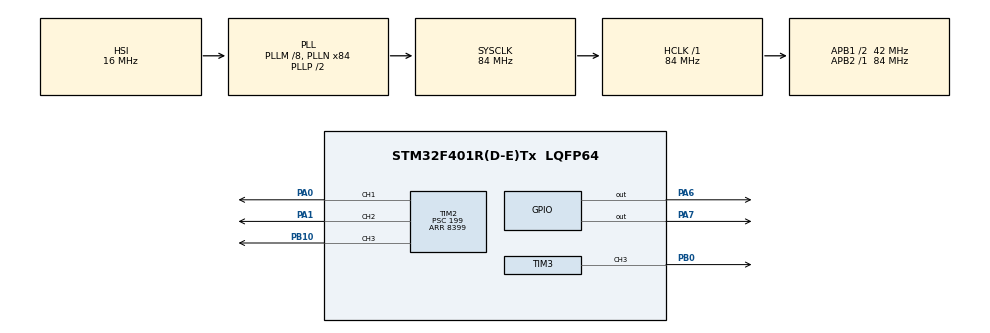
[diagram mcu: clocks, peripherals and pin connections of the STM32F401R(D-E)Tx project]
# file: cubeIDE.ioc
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FREERTOS.BinarySemaphores01=actuatorSem,Dynamic,NULL,Depleted;gantrySem,Dynamic,NULL,Depleted;uartSem,Dynamic,NULL,Available
FREERTOS.Tasks01=resetTask,48,256,StartResetTask,Default,NULL,Dynamic,NULL,NULL;uartTask,40,512,StartUARTTask,Default,NULL,Dynamic,NULL,NULL;actuatorTask,32,1024,StartActuatorTask,Default,NULL,Dynamic,NULL,NULL;gantryTask,24,512,StartGantryTask,Default,NULL,Dynamic,NULL,NULL
FREERTOS.configUSE_NEWLIB_REENTRANT=1
Mcu.Family=STM32F4
Mcu.Name=STM32F401R(D-E)Tx
Mcu.Package=LQFP64
<<<<<<< HEAD
=======
>>>>>>> c70491c610a38a6120c3b223b91105c19f0dbbfe
NVIC.PriorityGroup=NVIC_PRIORITYGROUP_4
NVIC.TIM5_IRQn=true\:15\:0\:false\:false\:true\:false\:false\:true\:true
NVIC.TimeBase=TIM5_IRQn
NVIC.TimeBaseIP=TIM5
PA0-WKUP.Signal=S_TIM2_CH1_ETR
PA1.Signal=S_TIM2_CH2
PA13.Mode=Serial_Wire
PA13.Signal=SYS_JTMS-SWDIO
PA14.Mode=Serial_Wire
PA14.Signal=SYS_JTCK-SWCLK
PA6.Signal=GPIO_Output
PA7.Signal=GPIO_Output
PB0.Signal=S_TIM3_CH3
PB10.Signal=S_TIM2_CH3
PH0\ -\ OSC_IN.Mode=HSE-External-Oscillator
PH0\ -\ OSC_IN.Signal=RCC_OSC_IN
PH1\ -\ OSC_OUT.Mode=HSE-External-Oscillator
PH1\ -\ OSC_OUT.Signal=RCC_OSC_OUT
ProjectManager.HeapSize=0x200
ProjectManager.StackSize=0x400
ProjectManager.TargetToolchain=STM32CubeIDE
RCC.48MHZClocksFreq_Value=42000000
RCC.AHBFreq_Value=84000000
RCC.APB1CLKDivider=RCC_HCLK_DIV2
RCC.APB1Freq_Value=42000000
RCC.APB1TimFreq_Value=84000000
RCC.APB2Freq_Value=84000000
RCC.APB2TimFreq_Value=84000000
RCC.CortexFreq_Value=84000000
RCC.HCLKFreq_Value=84000000
RCC.HSE_VALUE=25000000
RCC.HSI_VALUE=16000000
RCC.LSE_VALUE=32768
RCC.PLLM=8
RCC.PLLN=84
RCC.SYSCLKFreq_VALUE=84000000
RCC.SYSCLKSource=RCC_SYSCLKSOURCE_PLLCLK
RCC.VCOOutputFreq_Value=168000000
SH.S_TIM2_CH1_ETR.0=TIM2_CH1,PWM Generation1 CH1
SH.S_TIM2_CH2.0=TIM2_CH2,PWM Generation2 CH2
SH.S_TIM2_CH3.0=TIM2_CH3,PWM Generation3 CH3
SH.S_TIM3_CH3.0=TIM3_CH3,PWM Generation3 CH3
TIM2.Channel-PWM\ Generation1\ CH1=TIM_CHANNEL_1
TIM2.Channel-PWM\ Generation2\ CH2=TIM_CHANNEL_2
TIM2.Channel-PWM\ Generation3\ CH3=TIM_CHANNEL_3
TIM2.Period=8399
TIM2.Prescaler=199
TIM3.Channel-PWM\ Generation3\ CH3=TIM_CHANNEL_3
TIM3.Period=8399
TIM3.Prescaler=199
VP_FREERTOS_VS_CMSIS_V2.Mode=CMSIS_V2
VP_SYS_VS_tim5.Mode=TIM5
VP_TIM2_VS_ClockSourceINT.Mode=Internal
VP_TIM3_VS_ClockSourceINT.Mode=Internal
board=custom

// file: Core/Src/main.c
/* USER CODE BEGIN Header */
/**
  ******************************************************************************
  * @file           : main.c
  * @brief          : Main program body
  ******************************************************************************
  * @attention
  *
  * Copyright (c) 2025 STMicroelectronics.
  * All rights reserved.
  *
  * This software is licensed under terms that can be found in the LICENSE file
  * in the root directory of this software component.
  * If no LICENSE file comes with this software, it is provided AS-IS.
  *
  ******************************************************************************
  */
/* USER CODE END Header */
#include "main.h"
#include "cmsis_os.h"

TIM_HandleTypeDef htim2;
TIM_HandleTypeDef htim3;

/* Definitions for resetTask */
osThreadId_t resetTaskHandle;
const osThreadAttr_t resetTask_attributes = {
  .name = "resetTask",
  .stack_size = 256 * 4,
  .priority = (osPriority_t) osPriorityRealtime,
};
/* Definitions for uartTask */
osThreadId_t uartTaskHandle;
const osThreadAttr_t uartTask_attributes = {
  .name = "uartTask",
  .stack_size = 512 * 4,
  .priority = (osPriority_t) osPriorityHigh,
};
/* Definitions for actuatorTask */
osThreadId_t actuatorTaskHandle;
const osThreadAttr_t actuatorTask_attributes = {
  .name = "actuatorTask",
  .stack_size = 1024 * 4,
  .priority = (osPriority_t) osPriorityAboveNormal,
};
/* Definitions for gantryTask */
osThreadId_t gantryTaskHandle;
const osThreadAttr_t gantryTask_attributes = {
  .name = "gantryTask",
  .stack_size = 512 * 4,
  .priority = (osPriority_t) osPriorityNormal,
};
/* Definitions for actuatorSem */
osSemaphoreId_t actuatorSemHandle;
const osSemaphoreAttr_t actuatorSem_attributes = {
  .name = "actuatorSem"
};
/* Definitions for gantrySem */
osSemaphoreId_t gantrySemHandle;
const osSemaphoreAttr_t gantrySem_attributes = {
  .name = "gantrySem"
};
/* Definitions for uartSem */
osSemaphoreId_t uartSemHandle;
const osSemaphoreAttr_t uartSem_attributes = {
  .name = "uartSem"
};

void SystemClock_Config(void);
static void MX_GPIO_Init(void);
static void MX_TIM2_Init(void);
static void MX_TIM3_Init(void);
void StartResetTask(void *argument);
void StartUARTTask(void *argument);
void StartActuatorTask(void *argument);
void StartGantryTask(void *argument);

/* USER CODE BEGIN 0 */

<<<<<<< HEAD
void setServo(TIM_HandleTypeDef *htim, uint32_t channel, int speed) {
	// uint32_t pulseLength = 210 + (speed * (1050 - 210) / 180);
	__HAL_TIM_SET_COMPARE(htim, channel, speed);
=======
#define DIR_PIN GPIO_PIN_6
#define DIR_PORT GPIOA
#define STEP_PIN GPIO_PIN_7
#define STEP_PORT GPIOA
int stepDelay = 1000;

double depthMap[4][4] = {
	{0, 0.0125, 0.025, 0.0375},
	{0.0125, 0.025, 0.0375, 0.05},
	{0.025, 0.0375, 0.05, 0.05},
	{0.0375, 0.05, 0.05, 0.05}
};

void setServo(TIM_HandleTypeDef *htim, uint32_t channel, uint8_t angle) {
	uint32_t pulseLength = 210 + (angle * (1050 - 210) / 180);
	__HAL_TIM_SET_COMPARE(htim, channel, pulseLength);
>>>>>>> c70491c610a38a6120c3b223b91105c19f0dbbfe
}

void microDelay (uint16_t delay)
{
  __HAL_TIM_SET_COUNTER(&htim3, 0);
  while (__HAL_TIM_GET_COUNTER(&htim3) < delay);
}

// array values are between 0 - 0.05
double depthToAngle(double val) {
	return (0.05 / 180) * val;
}

/* USER CODE END 0 */

int main(void)
{

  /* MCU Configuration--------------------------------------------------------*/

  /* Reset of all peripherals, Initializes the Flash interface and the Systick. */
  HAL_Init();

  /* Configure the system clock */
  SystemClock_Config();

  /* Initialize all configured peripherals */
  MX_GPIO_Init();
  MX_TIM2_Init();
  MX_TIM3_Init();
  /* USER CODE BEGIN 2 */

  // A0
  HAL_TIM_PWM_Start(&htim2, TIM_CHANNEL_1);
  HAL_TIM_PWM_Start(&htim2, TIM_CHANNEL_2);
  HAL_TIM_PWM_Start(&htim3, TIM_CHANNEL_3);
  HAL_TIM_PWM_Start(&htim2, TIM_CHANNEL_3);

  HAL_TIM_Base_Start(&htim3);

  /* USER CODE END 2 */

  /* Init scheduler */
  osKernelInitialize();

  /* Create the semaphores(s) */
  /* creation of actuatorSem */
  actuatorSemHandle = osSemaphoreNew(1, 0, &actuatorSem_attributes);

  /* creation of gantrySem */
  gantrySemHandle = osSemaphoreNew(1, 0, &gantrySem_attributes);

  /* creation of uartSem */
  uartSemHandle = osSemaphoreNew(1, 1, &uartSem_attributes);

  /* Create the thread(s) */
  /* creation of resetTask */
  resetTaskHandle = osThreadNew(StartResetTask, NULL, &resetTask_attributes);

  /* creation of uartTask */
  uartTaskHandle = osThreadNew(StartUARTTask, NULL, &uartTask_attributes);

  /* creation of actuatorTask */
  actuatorTaskHandle = osThreadNew(StartActuatorTask, NULL, &actuatorTask_attributes);

  /* creation of gantryTask */
  gantryTaskHandle = osThreadNew(StartGantryTask, NULL, &gantryTask_attributes);

  /* Start scheduler */
  osKernelStart();

  /* We should never get here as control is now taken by the scheduler */

  /* Infinite loop */
  while (1)
  {

    /* USER CODE BEGIN 3 */
<<<<<<< HEAD
	  setServo(&htim2, TIM_CHANNEL_1, 1000);

=======
	  for (int i = 0; i < 4; i++) {
		  setServo(&htim2, TIM_CHANNEL_1, 180);
		  setServo(&htim2, TIM_CHANNEL_2, 180);
		  setServo(&htim3, TIM_CHANNEL_3, 180);
		  setServo(&htim2, TIM_CHANNEL_3, 180);

		  HAL_Delay(1000);

		  setServo(&htim2, TIM_CHANNEL_1, 0);
		  setServo(&htim2, TIM_CHANNEL_2, 0);
		  setServo(&htim3, TIM_CHANNEL_3, 0);
		  setServo(&htim2, TIM_CHANNEL_3, 0);

		  HAL_Delay(1000);

		  setServo(&htim2, TIM_CHANNEL_1, 180);
		  setServo(&htim2, TIM_CHANNEL_2, 180);
		  setServo(&htim3, TIM_CHANNEL_3, 180);
		  setServo(&htim2, TIM_CHANNEL_3, 180);

		  HAL_Delay(1000);

		  int x;
		  HAL_GPIO_WritePin(DIR_PORT, DIR_PIN, GPIO_PIN_SET);
		  for(x=0; x<1000; x=x+1)
		  {
			HAL_GPIO_WritePin(STEP_PORT, STEP_PIN, GPIO_PIN_SET);
			microDelay(stepDelay);
			HAL_GPIO_WritePin(STEP_PORT, STEP_PIN, GPIO_PIN_RESET);
			microDelay(stepDelay);
		  }
	  }

>>>>>>> c70491c610a38a6120c3b223b91105c19f0dbbfe
  }
  /* USER CODE END 3 */
}

void SystemClock_Config(void)
{
  RCC_OscInitTypeDef RCC_OscInitStruct = {0};
  RCC_ClkInitTypeDef RCC_ClkInitStruct = {0};

  /** Configure the main internal regulator output voltage
  */
  __HAL_RCC_PWR_CLK_ENABLE();
  __HAL_PWR_VOLTAGESCALING_CONFIG(PWR_REGULATOR_VOLTAGE_SCALE2);

  /** Initializes the RCC Oscillators according to the specified parameters
  * in the RCC_OscInitTypeDef structure.
  */
  RCC_OscInitStruct.OscillatorType = RCC_OSCILLATORTYPE_HSI;
  RCC_OscInitStruct.HSIState = RCC_HSI_ON;
  RCC_OscInitStruct.HSICalibrationValue = RCC_HSICALIBRATION_DEFAULT;
  RCC_OscInitStruct.PLL.PLLState = RCC_PLL_ON;
  RCC_OscInitStruct.PLL.PLLSource = RCC_PLLSOURCE_HSI;
  RCC_OscInitStruct.PLL.PLLM = 8;
  RCC_OscInitStruct.PLL.PLLN = 84;
  RCC_OscInitStruct.PLL.PLLP = RCC_PLLP_DIV2;
  RCC_OscInitStruct.PLL.PLLQ = 4;
  if (HAL_RCC_OscConfig(&RCC_OscInitStruct) != HAL_OK)
  {
    Error_Handler();
  }

  /** Initializes the CPU, AHB and APB buses clocks
  */
  RCC_ClkInitStruct.ClockType = RCC_CLOCKTYPE_HCLK|RCC_CLOCKTYPE_SYSCLK
                              |RCC_CLOCKTYPE_PCLK1|RCC_CLOCKTYPE_PCLK2;
  RCC_ClkInitStruct.SYSCLKSource = RCC_SYSCLKSOURCE_PLLCLK;
  RCC_ClkInitStruct.AHBCLKDivider = RCC_SYSCLK_DIV1;
  RCC_ClkInitStruct.APB1CLKDivider = RCC_HCLK_DIV2;
  RCC_ClkInitStruct.APB2CLKDivider = RCC_HCLK_DIV1;

  if (HAL_RCC_ClockConfig(&RCC_ClkInitStruct, FLASH_LATENCY_2) != HAL_OK)
  {
    Error_Handler();
  }
}

static void MX_TIM2_Init(void)
{

  TIM_ClockConfigTypeDef sClockSourceConfig = {0};
  TIM_MasterConfigTypeDef sMasterConfig = {0};
  TIM_OC_InitTypeDef sConfigOC = {0};

  htim2.Instance = TIM2;
  htim2.Init.Prescaler = 199;
  htim2.Init.CounterMode = TIM_COUNTERMODE_UP;
  htim2.Init.Period = 8399;
  htim2.Init.ClockDivision = TIM_CLOCKDIVISION_DIV1;
  htim2.Init.AutoReloadPreload = TIM_AUTORELOAD_PRELOAD_DISABLE;
  if (HAL_TIM_Base_Init(&htim2) != HAL_OK)
  {
    Error_Handler();
  }
  sClockSourceConfig.ClockSource = TIM_CLOCKSOURCE_INTERNAL;
  if (HAL_TIM_ConfigClockSource(&htim2, &sClockSourceConfig) != HAL_OK)
  {
    Error_Handler();
  }
  if (HAL_TIM_PWM_Init(&htim2) != HAL_OK)
  {
    Error_Handler();
  }
  sMasterConfig.MasterOutputTrigger = TIM_TRGO_RESET;
  sMasterConfig.MasterSlaveMode = TIM_MASTERSLAVEMODE_DISABLE;
  if (HAL_TIMEx_MasterConfigSynchronization(&htim2, &sMasterConfig) != HAL_OK)
  {
    Error_Handler();
  }
  sConfigOC.OCMode = TIM_OCMODE_PWM1;
  sConfigOC.Pulse = 0;
  sConfigOC.OCPolarity = TIM_OCPOLARITY_HIGH;
  sConfigOC.OCFastMode = TIM_OCFAST_DISABLE;
  if (HAL_TIM_PWM_ConfigChannel(&htim2, &sConfigOC, TIM_CHANNEL_1) != HAL_OK)
  {
    Error_Handler();
  }
  if (HAL_TIM_PWM_ConfigChannel(&htim2, &sConfigOC, TIM_CHANNEL_2) != HAL_OK)
  {
    Error_Handler();
  }
  if (HAL_TIM_PWM_ConfigChannel(&htim2, &sConfigOC, TIM_CHANNEL_3) != HAL_OK)
  {
    Error_Handler();
  }
  HAL_TIM_MspPostInit(&htim2);

}

static void MX_TIM3_Init(void)
{

  TIM_ClockConfigTypeDef sClockSourceConfig = {0};
  TIM_MasterConfigTypeDef sMasterConfig = {0};
  TIM_OC_InitTypeDef sConfigOC = {0};

  htim3.Instance = TIM3;
  htim3.Init.Prescaler = 199;
  htim3.Init.CounterMode = TIM_COUNTERMODE_UP;
  htim3.Init.Period = 8399;
  htim3.Init.ClockDivision = TIM_CLOCKDIVISION_DIV1;
  htim3.Init.AutoReloadPreload = TIM_AUTORELOAD_PRELOAD_DISABLE;
  if (HAL_TIM_Base_Init(&htim3) != HAL_OK)
  {
    Error_Handler();
  }
  sClockSourceConfig.ClockSource = TIM_CLOCKSOURCE_INTERNAL;
  if (HAL_TIM_ConfigClockSource(&htim3, &sClockSourceConfig) != HAL_OK)
  {
    Error_Handler();
  }
  if (HAL_TIM_PWM_Init(&htim3) != HAL_OK)
  {
    Error_Handler();
  }
  sMasterConfig.MasterOutputTrigger = TIM_TRGO_RESET;
  sMasterConfig.MasterSlaveMode = TIM_MASTERSLAVEMODE_DISABLE;
  if (HAL_TIMEx_MasterConfigSynchronization(&htim3, &sMasterConfig) != HAL_OK)
  {
    Error_Handler();
  }
  sConfigOC.OCMode = TIM_OCMODE_PWM1;
  sConfigOC.Pulse = 0;
  sConfigOC.OCPolarity = TIM_OCPOLARITY_HIGH;
  sConfigOC.OCFastMode = TIM_OCFAST_DISABLE;
  if (HAL_TIM_PWM_ConfigChannel(&htim3, &sConfigOC, TIM_CHANNEL_3) != HAL_OK)
  {
    Error_Handler();
  }
  HAL_TIM_MspPostInit(&htim3);

}

static void MX_GPIO_Init(void)
{
  GPIO_InitTypeDef GPIO_InitStruct = {0};

  /* GPIO Ports Clock Enable */
  __HAL_RCC_GPIOH_CLK_ENABLE();
  __HAL_RCC_GPIOA_CLK_ENABLE();
  __HAL_RCC_GPIOB_CLK_ENABLE();

  /*Configure GPIO pin Output Level */
  HAL_GPIO_WritePin(GPIOA, GPIO_PIN_6|GPIO_PIN_7, GPIO_PIN_RESET);

  /*Configure GPIO pins : PA6 PA7 */
  GPIO_InitStruct.Pin = GPIO_PIN_6|GPIO_PIN_7;
  GPIO_InitStruct.Mode = GPIO_MODE_OUTPUT_PP;
  GPIO_InitStruct.Pull = GPIO_NOPULL;
  GPIO_InitStruct.Speed = GPIO_SPEED_FREQ_LOW;
  HAL_GPIO_Init(GPIOA, &GPIO_InitStruct);

}

void StartResetTask(void *argument)
{
  for(;;)
  {
    osDelay(1);
  }
}

void StartUARTTask(void *argument)
{
  for(;;)
  {
    osDelay(1);
  }
}

void StartActuatorTask(void *argument)
{
  for(;;)
  {
    osDelay(1);
  }
}

void StartGantryTask(void *argument)
{
  for(;;)
  {
    osDelay(1);
  }
}

void HAL_TIM_PeriodElapsedCallback(TIM_HandleTypeDef *htim)
{
  if (htim->Instance == TIM5)
  {
    HAL_IncTick();
  }
}

void Error_Handler(void)
{
  __disable_irq();
  while (1)
  {
  }
}
